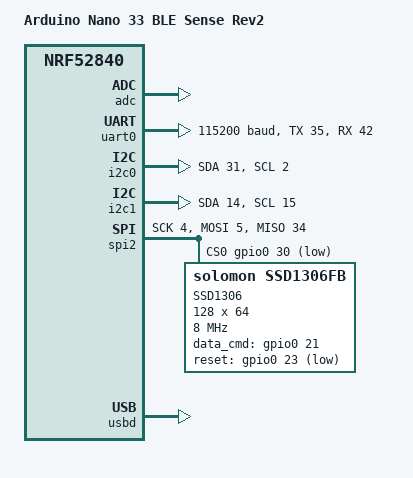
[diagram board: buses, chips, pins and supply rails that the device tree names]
/*
 * Copyright (c) 2020 Jefferson Lee
 *
 * SPDX-License-Identifier: Apache-2.0
 */
/dts-v1/;
#include <nordic/nrf52840_qiaa.dtsi>

/ {
	model = "Arduino Nano 33 BLE Sense Rev2";
	compatible = "arduino,arduino_nano_33_ble_sense_r2";

	chosen {
		zephyr,sram = &sram0;
		zephyr,flash = &flash0;
		zephyr,code-partition = &code_partition;
	};

	aliases {
		adcctrl = &adc;
	};
};

&flash0 {
	partitions {
		compatible = "fixed-partitions";
		#address-cells = <1>;
		#size-cells = <1>;

		boot_partition: partition@0 {
			label = "sam-ba";
			reg = <0x00000000 0x00010000>;
			read-only;
		};

		code_partition: partition@10000 {
			label = "code";
			reg = <0x10000 0xEC000>;
			read-only;
		};

    datapt_partition: partition@FC000 {
        label = "datapt";
        reg = <0xFC000 0x4000>;
    };
	};
};

/*
 * guide specifying pin numbers: https://docs.zephyrproject.org/latest/boards/arm/nrf52840dk_nrf52840/doc/index.html
 * Given Pin PB.A:
 * pin_no = B*32 + A
 * ex. P1.0 => 32
 */
&adc {
	status = "okay";
};
&uart0 {
	compatible = "nordic,nrf-uart";
	current-speed = <115200>;
	status = "okay";
	tx-pin = <35>; //P1.03
	rx-pin = <42>; //P1.10
};
&i2c0 {
	compatible = "nordic,nrf-twim";
	status = "okay";
	sda-pin = <31>; //P0.31
	scl-pin = <2>; //P0.02
};
&i2c1 {
	compatible = "nordic,nrf-twim";
	status = "okay";
	sda-pin = <14>; //P0.14
	scl-pin = <15>; //P0.15
  zephyr,concat-buf-size = <264>;
//  clock-frequency = <100000>;
};
&spi2 {
	compatible = "nordic,nrf-spim";
	status = "okay";
	sck-pin = <4>; //P0.04 A0
    mosi-pin = <5>; //P0.05 A1
    miso-pin = <34>; //P1.02 D10
	cs-gpios = <&gpio0 30 GPIO_ACTIVE_LOW>; //P0.30 A2

    ssd1306:ssd1306@0 {
        compatible = "solomon,ssd1306fb";
        reg = <0x0>;
		spi-max-frequency = <8000000>;
        label = "SSD1306";
        height = <64>;
        width  = <128>;
        segment-offset  = <0>;
        page-offset     = <0>;
        display-offset  = <0>;
        multiplex-ratio = <63>;
        prechargep      = <0x22>;
        segment-remap;
		data_cmd-gpios = <&gpio0 21 GPIO_ACTIVE_HIGH>;	//P0.21 D8
		reset-gpios = <&gpio0 23 GPIO_ACTIVE_LOW>;		//p0.23 D7
    };
};
&gpio0 {
	status = "okay";
};
&gpio1 {
	status = "okay";
};
zephyr_udc0: &usbd {
	compatible = "nordic,nrf-usbd";
	status = "okay";
  cdc_acm_uart0 {
		compatible = "zephyr,cdc-acm-uart";
		label = "CDC_ACM_0";
	};
};
// All PWM's should be enaled
&pwm0 {
	status = "disabled";
};
&pwm1 {
	status = "disabled";
};
&pwm2 {
	status = "disabled";
};
&pwm3 {
	status = "disabled";
};
&rtc1 {
	status = "disabled";
};
&timer3 {
    status = "disabled";
};
&timer4 {
    status = "disabled";
};
